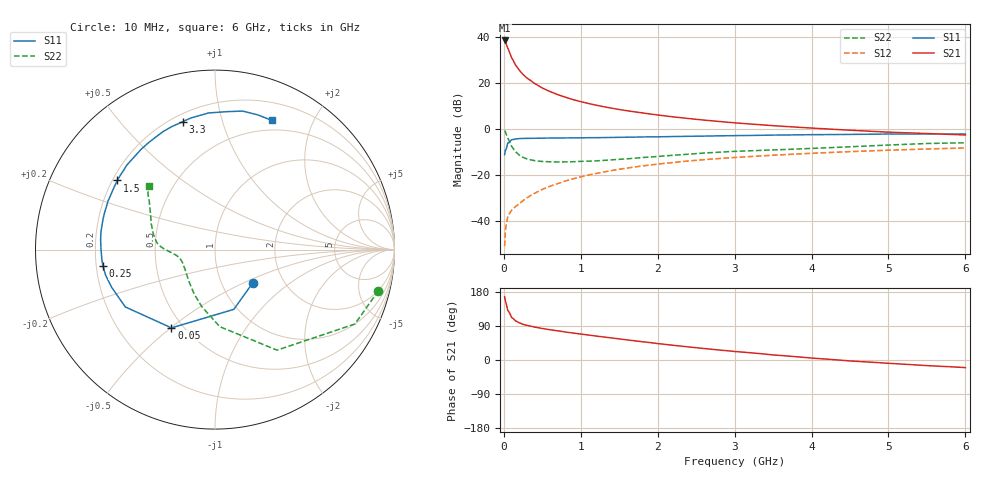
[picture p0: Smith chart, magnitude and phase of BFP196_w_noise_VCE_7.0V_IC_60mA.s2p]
! (c) 2017  Infineon Technologies AG, Munich
! Infineon Technologies  Discrete & RF Semiconductors
! BFP196
! VCE =  7.0 V,  IC =  60 mA
! Common Emitter S-Parameters:  Jan 2017
# GHz  S  MA  R  50
!  f  S11  S21  S12  S22
! GHz  MAG  ANG  MAG  ANG  MAG  ANG  MAG  ANG
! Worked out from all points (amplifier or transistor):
!   77 points, 10 MHz to 6 GHz, reference 50 ohm
!   highest |S21| = 38.5 dB at 10 MHz (marker M1)
!   |S21| within 3 dB of that: start of sweep to 47.08 MHz
!   unconditionally stable (mu >= 1): 536.7 MHz to 2.436 GHz
!   at 130 MHz: K = 0.64, MSG = 31.8 dB, |S12| = -34.2 dB
!   at 2.2 GHz: K = 1.01, MAG = 9.3 dB, |S12| = -14.4 dB
!   at 6 GHz: K = 0.94, MSG = 2.8 dB, |S12| = -8.1 dB
!   lowest NFmin = 1.56 dB at 450 MHz
!   S11 on the Smith chart (normalised r, x): 10 MHz: 1.40, -0.56; 50 MHz: 0.43, -0.50; 250 MHz: 0.23, -0.07; 1.5 GHz: 0.22, +0.30; 3.3 GHz: 0.24, +0.75; 6 GHz: 0.39, +1.46
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0.01  0.2803 -41.3  84.26 167.1  0.0029 80.2  0.939 -14.1
0.02  0.349 -72.5  79.96 155.8  0.0062 74.1  0.8828 -28.0
0.05  0.4992 -119.1  57.99 131.2  0.0124 57.4  0.6584 -58.3
0.1  0.5931 -147.4  35.82 112.3  0.0174 55.0  0.4306 -86.4
0.15  0.6132 -160.0  25.04 103.6  0.0208 56.4  0.3272 -102.8
0.2  0.6258 -166.7  19.13 98.2  0.0241 59.2  0.2757 -114.5
0.25  0.6311 -171.7  15.43 94.2  0.0283 61.3  0.2455 -123.0
0.3  0.6327 -175.2  12.92 91.4  0.0324 62.9  0.2269 -130.2
0.4  0.6356 179.2  9.785 86.8  0.0407 66.1  0.2078 -140.3
0.5  0.6401 174.7  7.839 83.1  0.0494 66.6  0.1993 -147.4
0.6  0.6428 171.2  6.565 79.8  0.058 67.3  0.1966 -152.8
0.7  0.6441 167.8  5.631 77.0  0.0659 67.5  0.1945 -156.8
0.9  0.6487 161.6  4.387 71.1  0.084 66.8  0.1972 -162.2
1.1  0.6545 155.7  3.615 65.9  0.1013 64.7  0.2027 -166.5
1.5  0.6668 144.7  2.677 55.7  0.1351 60.0  0.222 -172.5
2.1  0.6884 129.0  1.943 41.2  0.1821 52.1  0.2643 -178.7
2.6  0.7087 117.7  1.579 30.3  0.2182 45.3  0.3039 176.7
3.1  0.7284 107.7  1.337 20.9  0.249 38.8  0.3353 170.7
3.3  0.7354 104.0  1.263 17.4  0.2607 36.3  0.345 168.1
4.1  0.7629 91.2  1.036 3.7  0.3054 26.5  0.3891 156.3
5.1  0.7863 77.4  0.851 -9.9  0.3546 14.8  0.4602 143.0
6  0.7865 66.4  0.75 -20.0  0.3919 4.8  0.5078 136.1
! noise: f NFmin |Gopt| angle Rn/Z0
0.45  1.56  0.41  -174  0.06
0.9  1.72  0.48  -162  0.08
1.9  2.54  0.68  -132  0.35
2.4  2.93  0.7  -119  0.72
